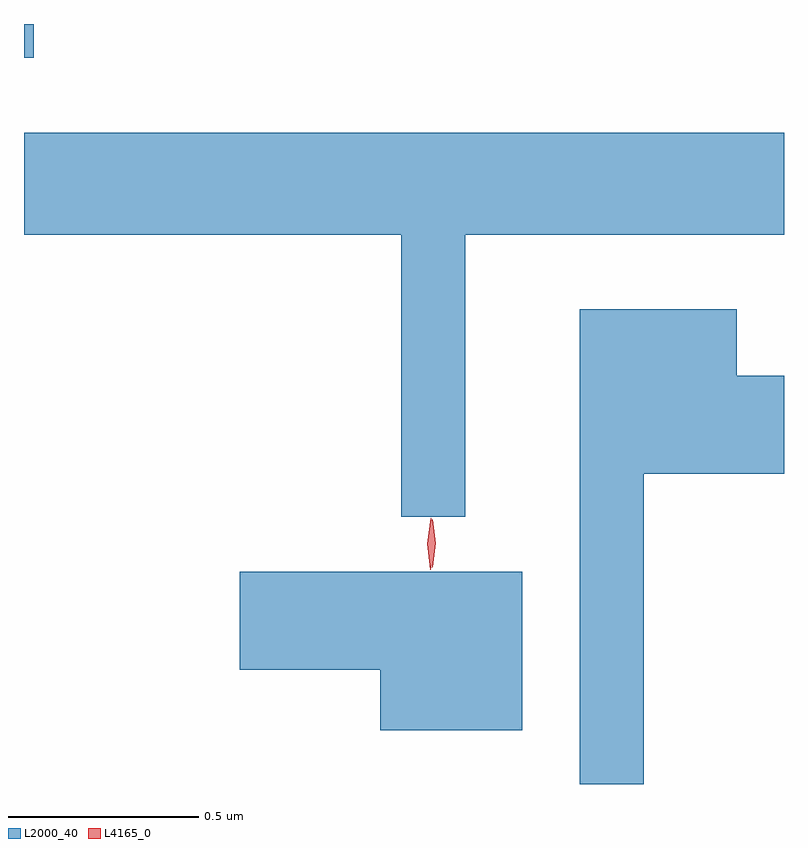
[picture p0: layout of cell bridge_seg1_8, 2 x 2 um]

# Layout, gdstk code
import gdstk
lib = gdstk.Library(unit=1e-6, precision=1e-09)
def R(c, l, rs):  # rectangles x0, y0, x1, y1
    for r in rs: c.add(gdstk.rectangle(r[:2], r[2:], *l))
def P(c, l, *ps):  # polygons
    for p in ps: c.add(gdstk.Polygon(p, *l))
L2000_40 = (2000, 40)
L4165_0 = (4165, 0)

bridge_seg1_8 = lib.new_cell('bridge_seg1_8')
R(bridge_seg1_8, L2000_40, [(1564.118,857.861,1564.144,857.95)])
P(bridge_seg1_8, L2000_40, [(1565.279,857.396),(1566.118,857.396),(1566.118,857.664),(1564.118,857.664),(1564.118,857.396),(1565.111,857.396),(1565.111,856.653),(1565.279,856.653)],
  [(1565.749,856.766),(1566.118,856.766),(1566.118,857.024),(1565.994,857.024),(1565.994,857.199),(1565.581,857.199),(1565.581,855.95),(1565.749,855.95)],
  [(1565.429,856.509),(1564.686,856.509),(1564.686,856.251),(1565.056,856.251),(1565.056,856.091),(1565.429,856.091)])
P(bridge_seg1_8, L4165_0, [(1565.192,856.52),(1565.192,856.52),(1565.182,856.584),(1565.192,856.646),(1565.192,856.647),(1565.193,856.646),(1565.202,856.584),(1565.193,856.52)],
  [(1565.187,856.514),(1565.179,856.582),(1565.189,856.65),(1565.19,856.65),(1565.19,856.65),(1565.199,856.582),(1565.188,856.514),(1565.188,856.514)])

lib.write_gds('bridge_seg1_8.gds')
